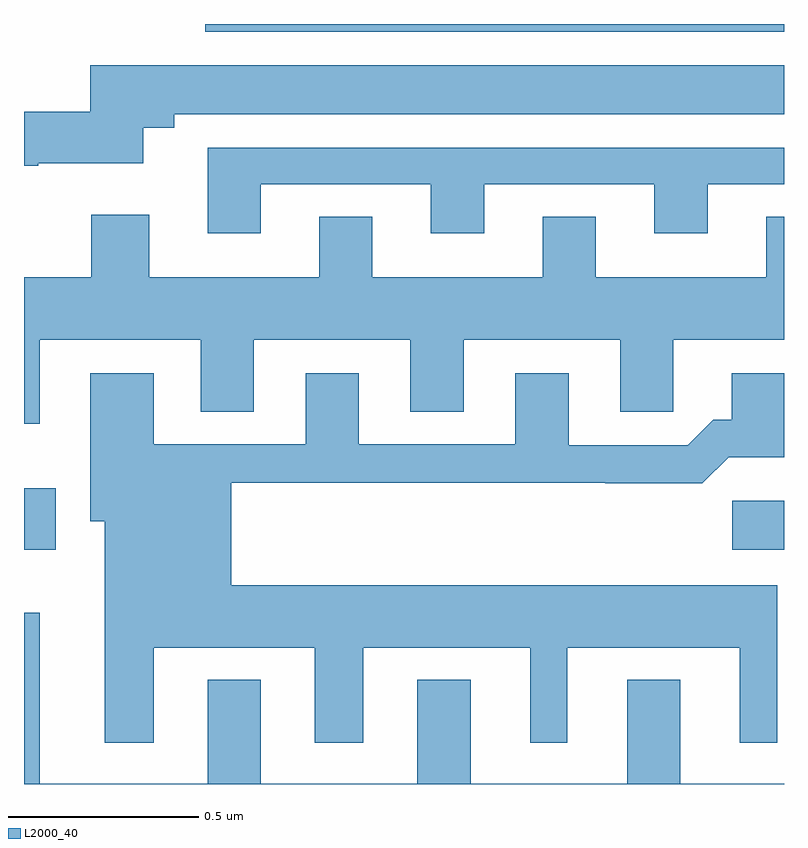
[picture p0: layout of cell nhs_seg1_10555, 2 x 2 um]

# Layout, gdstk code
import gdstk
lib = gdstk.Library(unit=1e-6, precision=1e-09)
def R(c, l, rs):  # rectangles x0, y0, x1, y1
    for r in rs: c.add(gdstk.rectangle(r[:2], r[2:], *l))
def P(c, l, *ps):  # polygons
    for p in ps: c.add(gdstk.Polygon(p, *l))
L2000_40 = (2000, 40)

nhs_seg1_10555 = lib.new_cell('nhs_seg1_10555')
R(nhs_seg1_10555, L2000_40, [(242,581.816,242.083,581.977), (243.864,581.816,244,581.945), (242.477,583.178,244,583.199)])
P(nhs_seg1_10555, L2000_40, [(242.038,582.833),(242.314,582.833),(242.314,582.926),(242.395,582.926),(242.395,582.962),(244,582.962),(244,583.09),(242.174,583.09),(242.174,582.968),(242,582.968),(242,582.826),(242.038,582.826)],
  [(242.623,582.777),(243.071,582.777),(243.071,582.648),(243.211,582.648),(243.211,582.777),(243.659,582.777),(243.659,582.648),(243.799,582.648),(243.799,582.777),(244,582.777),(244,582.873),(242.483,582.873),(242.483,582.648),(242.623,582.648)],
  [(242.041,582.368),(242.465,582.368),(242.465,582.178),(242.605,582.178),(242.605,582.368),(243.017,582.368),(243.017,582.178),(243.157,582.178),(243.157,582.368),(243.569,582.368),(243.569,582.178),(243.708,582.178),(243.708,582.368),(244,582.368),(244,582.692),(243.953,582.692),(243.953,582.532),(243.505,582.532),(243.505,582.692),(243.365,582.692),(243.365,582.532),(242.917,582.532),(242.917,582.692),(242.777,582.692),(242.777,582.532),(242.329,582.532),(242.329,582.697),(242.177,582.697),(242.177,582.532),(242,582.532),(242,582.147),(242.041,582.147)],
  [(242.341,581.558),(242.765,581.558),(242.765,581.307),(242.893,581.307),(242.893,581.558),(243.332,581.558),(243.332,581.307),(243.43,581.307),(243.43,581.558),(243.884,581.558),(243.884,581.307),(243.982,581.307),(243.982,581.722),(242.545,581.722),(242.545,581.992),(243.529,581.992),(243.529,581.99),(243.785,581.99),(243.854,582.059),(244,582.059),(244,582.28),(243.863,582.28),(243.863,582.157),(243.814,582.157),(243.747,582.09),(243.433,582.09),(243.433,582.28),(243.293,582.28),(243.293,582.093),(242.881,582.093),(242.881,582.28),(242.741,582.28),(242.741,582.093),(242.341,582.093),(242.341,582.28),(242.174,582.28),(242.174,581.891),(242.213,581.891),(242.213,581.307),(242.341,581.307)],
  [(244,581.2),(243.727,581.2),(243.727,581.473),(243.587,581.473),(243.587,581.2),(243.175,581.2),(243.175,581.473),(243.035,581.473),(243.035,581.2),(242.623,581.2),(242.623,581.473),(242.483,581.473),(242.483,581.2),(242.041,581.2),(242.041,581.65),(242,581.65),(242,581.199),(244,581.199)])

lib.write_gds('nhs_seg1_10555.gds')
